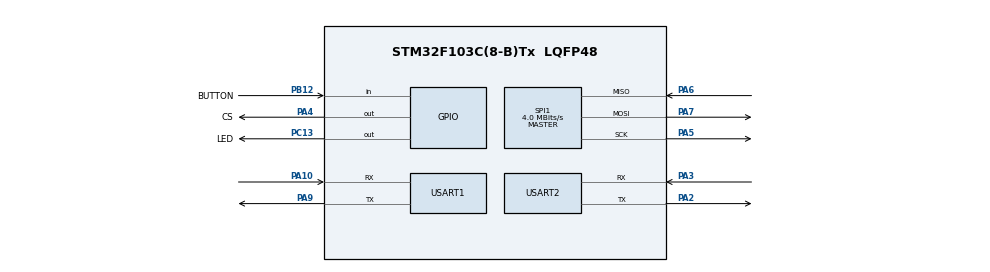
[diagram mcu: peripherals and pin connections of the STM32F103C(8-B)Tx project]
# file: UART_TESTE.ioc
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Mcu.Family=STM32F1
Mcu.Name=STM32F103C(8-B)Tx
Mcu.Package=LQFP48
NVIC.PriorityGroup=NVIC_PRIORITYGROUP_4
NVIC.USART2_IRQn=true\:0\:0\:false\:false\:true\:true\:true\:true
PA10.Mode=Asynchronous
PA10.Signal=USART1_RX
PA13.Mode=Serial_Wire
PA13.Signal=SYS_JTMS-SWDIO
PA14.Mode=Serial_Wire
PA14.Signal=SYS_JTCK-SWCLK
PA2.Mode=Asynchronous
PA2.Signal=USART2_TX
PA3.Mode=Asynchronous
PA3.Signal=USART2_RX
PA4.GPIO_Label=CS
PA4.Signal=GPIO_Output
PA5.Mode=Full_Duplex_Master
PA5.Signal=SPI1_SCK
PA6.Mode=Full_Duplex_Master
PA6.Signal=SPI1_MISO
PA7.Mode=Full_Duplex_Master
PA7.Signal=SPI1_MOSI
PA9.Mode=Asynchronous
PA9.Signal=USART1_TX
PB12.GPIO_Label=BUTTON
PB12.Signal=GPIO_Input
PC13-TAMPER-RTC.GPIO_Label=LED
PC13-TAMPER-RTC.Signal=GPIO_Output
PD0-OSC_IN.Mode=HSE-External-Oscillator
PD0-OSC_IN.Signal=RCC_OSC_IN
PD1-OSC_OUT.Mode=HSE-External-Oscillator
PD1-OSC_OUT.Signal=RCC_OSC_OUT
ProjectManager.HeapSize=0x200
ProjectManager.StackSize=0x400
ProjectManager.TargetToolchain=STM32CubeIDE
RCC.AHBFreq_Value=64000000
RCC.APB1CLKDivider=RCC_HCLK_DIV2
RCC.APB1Freq_Value=32000000
RCC.APB1TimFreq_Value=64000000
RCC.APB2Freq_Value=64000000
RCC.APB2TimFreq_Value=64000000
RCC.HCLKFreq_Value=64000000
RCC.PLLMUL=RCC_PLL_MUL16
RCC.SYSCLKFreq_VALUE=64000000
RCC.SYSCLKSource=RCC_SYSCLKSOURCE_PLLCLK
RCC.USBFreq_Value=64000000
SPI1.BaudRatePrescaler=SPI_BAUDRATEPRESCALER_16
SPI1.CalculateBaudRate=4.0 MBits/s
SPI1.Direction=SPI_DIRECTION_2LINES
SPI1.Mode=SPI_MODE_MASTER
SPI1.VirtualType=VM_MASTER
USART1.VirtualMode=VM_ASYNC
USART2.VirtualMode=VM_ASYNC
board=custom

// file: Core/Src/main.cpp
/* USER CODE BEGIN Header */
/**
 ******************************************************************************
 * @file           : main.c
 * @brief          : Main program body
 ******************************************************************************
 * @attention
 *
 * Copyright (c) 2023 STMicroelectronics.
 * All rights reserved.
 *
 * This software is licensed under terms that can be found in the LICENSE file
 * in the root directory of this software component.
 * If no LICENSE file comes with this software, it is provided AS-IS.
 *
 ******************************************************************************
 */
/* USER CODE END Header */
#include "main.h"
#include "spi.h"
#include "usart.h"
#include "gpio.h"
//#include <iostream>
#include <stdio.h>
#include "RFID.hpp"
#include <string>

void SystemClock_Config(void);
void EnableRxInterrup(void);

/* USER CODE BEGIN 0 */

enum Cases{
	StandBy = 0,
	CmdPorta = 1,
	CmdAC = 2
};

uint8_t recBuff[20] = {0};

volatile bool dataRdyFlag = false;
volatile bool rxIntErrorFlag = false;
/* USER CODE END 0 */

int main(void) {

	/* MCU Configuration--------------------------------------------------------*/

	/* Reset of all peripherals, Initializes the Flash interface and the Systick. */
	HAL_Init();

	/* Configure the system clock */
	SystemClock_Config();

	/* Initialize all configured peripherals */
	MX_GPIO_Init();
	MX_USART1_UART_Init();
	MX_SPI1_Init();
	MX_USART2_UART_Init();
	/* USER CODE BEGIN 2 */

	float temperature = 22.75;

	char ACdata = 'D';
	char DoorData = 'F';
	char tempData[2] = {0};
	uint8_t tempReceive = 0;
	//HAL_UART_Receive_IT(&huart2, recBuff, 20);
	EnableRxInterrup();

	uint8_t Cases = StandBy;
	/* USER CODE END 2 */

	/* Infinite loop */
	/* USER CODE BEGIN WHILE */
	while (1) {
		switch (Cases) {
		case StandBy:
			//ESPERA DADO NA SERIAL
			if (dataRdyFlag) {
				dataRdyFlag = false;
				if (recBuff[0] == '[' && recBuff[7] == ']') {
					ACdata = recBuff[1];
					DoorData = recBuff[6];
					for (int i = 0; i < 2; i++) {
						tempData[i] = recBuff[3 + i];
					}
					tempReceive = (tempData[0] - 48) * 10;
					tempReceive = tempReceive + (tempData[1]) - 48;

				}
			}

			if (rxIntErrorFlag) {
				rxIntErrorFlag = false;
				EnableRxInterrup();
			}
			//VERIFICAÇÃO DOS ESTADOS
			if (ACdata == 'L') {
				Cases = CmdAC;
			} else if (HAL_GPIO_ReadPin(BUTTON_GPIO_Port, BUTTON_Pin) == 0 || DoorData == 'A') {
				Cases = CmdPorta;

			} else {
				DoorData = 'F';
				Cases = StandBy;
			}

			break;
		case CmdPorta:
			GPIO_Output(LED_GPIO_Port, LED_Pin, 0);
			HAL_Delay(1000);
			GPIO_Output(LED_GPIO_Port, LED_Pin, 1);
			DoorData = 'F';
			Cases = StandBy;
			break;
		case CmdAC:
			int aux = temperature*100;

			printf("AC Ligado, setado na temperatura de: %d\r\n", tempReceive);
			printf("Temperatura da sala: %f\r\n", temperature);
			char data[6];

			sprintf(data, "[%d]", aux);

			//HAL_UART_Transmit(&huart1, (const uint8_t*)data , 6, HAL_MAX_DELAY); //envia dado para aplicativo

			HAL_UART_Transmit(&huart2, (const uint8_t*)data, 6, HAL_MAX_DELAY); //envia dado para aplicativo
			ACdata = 'D'; //limpa o dado recebido

			Cases = StandBy;
			break;
			/* USER CODE END WHILE */

		}
	}
}
	/**
	 * @brief System Clock Configuration
	 * @retval None
	 */
	void SystemClock_Config(void) {
		RCC_OscInitTypeDef RCC_OscInitStruct = { 0 };
		RCC_ClkInitTypeDef RCC_ClkInitStruct = { 0 };

		/** Initializes the RCC Oscillators according to the specified parameters
		 * in the RCC_OscInitTypeDef structure.
		 */
		RCC_OscInitStruct.OscillatorType = RCC_OSCILLATORTYPE_HSI;
		RCC_OscInitStruct.HSIState = RCC_HSI_ON;
		RCC_OscInitStruct.HSICalibrationValue = RCC_HSICALIBRATION_DEFAULT;
		RCC_OscInitStruct.PLL.PLLState = RCC_PLL_ON;
		RCC_OscInitStruct.PLL.PLLSource = RCC_PLLSOURCE_HSI_DIV2;
		RCC_OscInitStruct.PLL.PLLMUL = RCC_PLL_MUL16;
		if (HAL_RCC_OscConfig(&RCC_OscInitStruct) != HAL_OK) {
			Error_Handler();
		}

		/** Initializes the CPU, AHB and APB buses clocks
		 */
		RCC_ClkInitStruct.ClockType = RCC_CLOCKTYPE_HCLK | RCC_CLOCKTYPE_SYSCLK
				| RCC_CLOCKTYPE_PCLK1 | RCC_CLOCKTYPE_PCLK2;
		RCC_ClkInitStruct.SYSCLKSource = RCC_SYSCLKSOURCE_PLLCLK;
		RCC_ClkInitStruct.AHBCLKDivider = RCC_SYSCLK_DIV1;
		RCC_ClkInitStruct.APB1CLKDivider = RCC_HCLK_DIV2;
		RCC_ClkInitStruct.APB2CLKDivider = RCC_HCLK_DIV1;

		if (HAL_RCC_ClockConfig(&RCC_ClkInitStruct, FLASH_LATENCY_2)
				!= HAL_OK) {
			Error_Handler();
		}
	}

	/* USER CODE BEGIN 4 */
	void EnableRxInterrup(void)
	{
		if(HAL_UART_Receive_IT(&huart2, (uint8_t*)recBuff, 8) != HAL_OK)
		{
			rxIntErrorFlag = true;
		}
	}

	void HAL_UART_RxCpltCallback(UART_HandleTypeDef *huart)
	{

		dataRdyFlag = true;
		EnableRxInterrup();
		//HAL_UART_Transmit(&huart1, recBuff, 20, 1000);
		//HAL_UART_Receive_IT(&huart2, recBuff, 20);

	}

	/* USER CODE END 4 */

	/**
	 * @brief  This function is executed in case of error occurrence.
	 * @retval None
	 */
	void Error_Handler(void) {
		__disable_irq();
		while (1) {
		}
	}
